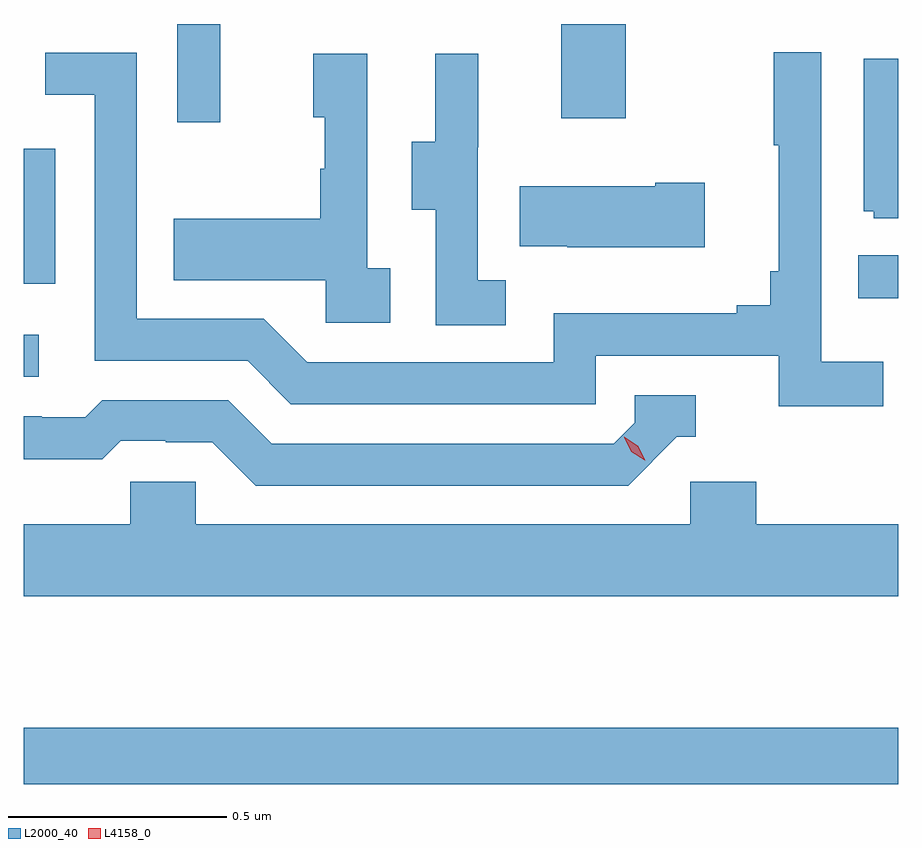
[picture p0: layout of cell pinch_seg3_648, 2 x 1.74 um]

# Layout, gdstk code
import gdstk
lib = gdstk.Library(unit=1e-6, precision=1e-09)
def R(c, l, rs):  # rectangles x0, y0, x1, y1
    for r in rs: c.add(gdstk.rectangle(r[:2], r[2:], *l))
def P(c, l, *ps):  # polygons
    for p in ps: c.add(gdstk.Polygon(p, *l))
L2000_40 = (2000, 40)
L4158_0 = (4158, 0)

pinch_seg3_648 = lib.new_cell('pinch_seg3_648')
R(pinch_seg3_648, L2000_40, [(1048.98,684.502,1050.98,684.631), (1048.98,685.434,1049.014,685.53), (1050.889,685.613,1050.98,685.712), (1048.98,685.647,1049.052,685.956), (1049.331,686.016,1049.429,686.241), (1050.209,686.025,1050.357,686.241)])
P(pinch_seg3_648, L2000_40, [(1050.946,685.468),(1050.804,685.468),(1050.804,686.176),(1050.696,686.176),(1050.696,685.963),(1050.707,685.963),(1050.707,685.675),(1050.688,685.675),(1050.688,685.598),(1050.611,685.598),(1050.611,685.579),(1050.192,685.579),(1050.192,685.467),(1049.628,685.467),(1049.529,685.566),(1049.238,685.566),(1049.238,686.175),(1049.029,686.175),(1049.029,686.079),(1049.142,686.079),(1049.142,685.47),(1049.492,685.47),(1049.591,685.371),(1050.288,685.371),(1050.288,685.482),(1050.707,685.482),(1050.707,685.366),(1050.946,685.366)],
  [(1049.818,685.682),(1049.766,685.682),(1049.766,686.173),(1049.642,686.173),(1049.642,686.028),(1049.668,686.028),(1049.668,685.91),(1049.658,685.91),(1049.658,685.795),(1049.323,685.795),(1049.323,685.655),(1049.67,685.655),(1049.67,685.557),(1049.818,685.557)],
  [(1050.082,685.655),(1050.018,685.655),(1050.018,685.959),(1050.02,685.959),(1050.02,686.173),(1049.921,686.173),(1049.921,685.971),(1049.867,685.971),(1049.867,685.816),(1049.922,685.816),(1049.922,685.552),(1050.082,685.552)],
  [(1050.98,686.161),(1050.902,686.161),(1050.902,685.812),(1050.924,685.812),(1050.924,685.797),(1050.98,685.797)],
  [(1050.538,685.878),(1050.425,685.878),(1050.425,685.87),(1050.115,685.87),(1050.115,685.733),(1050.223,685.733),(1050.223,685.73),(1050.538,685.73)],
  [(1050.474,685.296),(1050.517,685.296),(1050.517,685.392),(1050.378,685.392),(1050.378,685.329),(1050.33,685.281),(1049.547,685.281),(1049.448,685.38),(1049.159,685.38),(1049.12,685.341),(1049.021,685.341),(1049.021,685.344),(1048.98,685.344),(1048.98,685.245),(1049.159,685.245),(1049.201,685.287),(1049.304,685.287),(1049.304,685.284),(1049.411,685.284),(1049.51,685.185),(1050.363,685.185)],
  [(1050.98,685.096),(1050.656,685.096),(1050.656,685.194),(1050.504,685.194),(1050.504,685.096),(1049.373,685.096),(1049.373,685.194),(1049.223,685.194),(1049.223,685.096),(1048.98,685.096),(1048.98,684.932),(1050.98,684.932)])
P(pinch_seg3_648, L4158_0, [(1050.401,685.243),(1050.37,685.262),(1050.354,685.295),(1050.354,685.296),(1050.354,685.296),(1050.385,685.276),(1050.402,685.243),(1050.402,685.243)])

lib.write_gds('pinch_seg3_648.gds')
